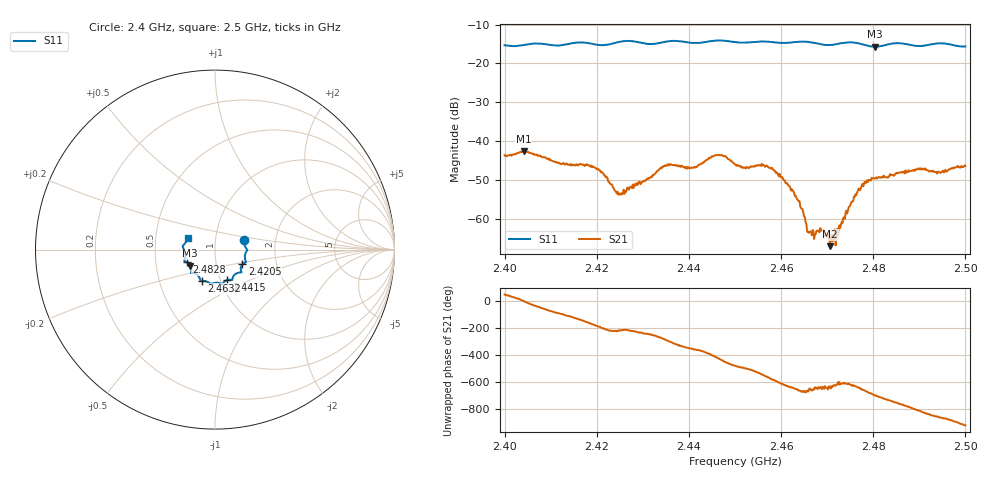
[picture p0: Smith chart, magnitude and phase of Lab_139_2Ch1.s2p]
# Hz S RI R 50
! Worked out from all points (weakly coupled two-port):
!   601 points, 2.4 GHz to 2.5 GHz, reference 50 ohm
!   highest |S21| = -42.53 dB at 2.4042 GHz (marker M1); lowest = -67.0 dB at 2.4707 GHz (marker M2)
!   lowest |S11| = -15.7 dB at 2.4803 GHz (marker M3), VSWR 1.39, Z = 37.4 - j6.84 ohm
!   |S11| at or under -10 dB: start of sweep to end of sweep
!   S12 and S22 are empty: the file has one direction only
!   S11 on the Smith chart (normalised r, x): 2.4 GHz: 1.38, +0.15; 2.4205 GHz: 1.34, -0.22; 2.4415 GHz: 1.07, -0.38; 2.4632 GHz: 0.82, -0.29; 2.4828 GHz: 0.72, -0.10; 2.5 GHz: 0.73, +0.10
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2.4e9  0.1633 0.0517  0.00427 0.00506  0 0  0 0
2.404167e9  0.1723 0.00926  0.00747 2.25e-05  0 0  0 0
2.416667e9  0.1728 -0.0699  -0.00383 -0.00324  0 0  0 0
2.4205e9  0.152 -0.0816  -0.00423 0.000653  0 0  0 0
2.425167e9  0.1462 -0.1226  -0.00169 0.00125  0 0  0 0
2.433333e9  0.1002 -0.1517  -0.000363 0.00418  0 0  0 0
2.435833e9  0.0971 -0.1675  0.00251 0.00435  0 0  0 0
2.4415e9  0.0655 -0.1706  0.00468 2.35e-05  0 0  0 0
2.446167e9  0.0412 -0.193  0.00326 -0.00579  0 0  0 0
2.45e9  0.0243 -0.1865  -0.00244 -0.00439  0 0  0 0
2.457667e9  -0.0295 -0.1868  -0.00362 0.00262  0 0  0 0
2.463167e9  -0.0732 -0.1741  0.000767 0.00183  0 0  0 0
2.465833e9  -0.0811 -0.171  0.000457 0.000515  0 0  0 0
2.466667e9  -0.0823 -0.1672  0.00034 0.000515  0 0  0 0
2.468833e9  -0.0901 -0.1505  0.000286 0.000663  0 0  0 0
2.470667e9  -0.1055 -0.1366  1.1e-05 0.000447  0 0  0 0
2.471833e9  -0.1172 -0.1316  -2.56e-05 0.000457  0 0  0 0
2.477167e9  -0.1316 -0.1215  0.000605 0.00227  0 0  0 0
2.480333e9  -0.1377 -0.0891  0.00313 0.00111  0 0  0 0
2.482833e9  -0.1588 -0.07  0.00339 -0.00051  0 0  0 0
2.483333e9  -0.1626 -0.0681  0.00334 -0.000873  0 0  0 0
2.5e9  -0.1526 0.0644  -0.00442 0.00186  0 0  0 0
